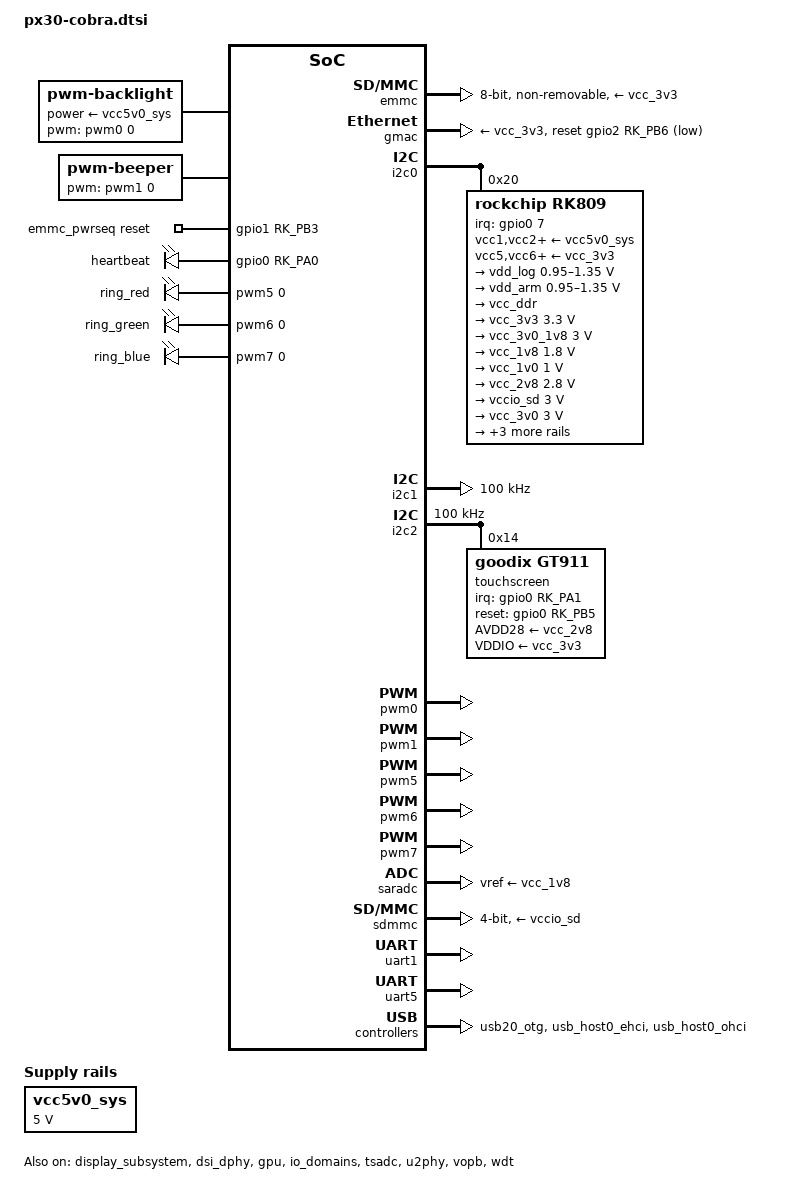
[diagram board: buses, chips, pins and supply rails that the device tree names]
// SPDX-License-Identifier: (GPL-2.0+ OR MIT)
/*
 * Copyright (c) 2019 Theobroma Systems Design und Consulting GmbH
 */

/dts-v1/;
#include <dt-bindings/gpio/gpio.h>
#include <dt-bindings/input/input.h>
#include <dt-bindings/pinctrl/rockchip.h>
#include "px30.dtsi"

/ {
	chosen {
		stdout-path = "serial5:115200n8";
	};

	backlight: backlight {
		compatible = "pwm-backlight";
		power-supply = <&vcc5v0_sys>;
		pwms = <&pwm0 0 25000 0>;
	};

	beeper {
		compatible = "pwm-beeper";
		pwms = <&pwm1 0 1000 0>;
	};

	emmc_pwrseq: emmc-pwrseq {
		compatible = "mmc-pwrseq-emmc";
		pinctrl-0 = <&emmc_reset>;
		pinctrl-names = "default";
		reset-gpios = <&gpio1 RK_PB3 GPIO_ACTIVE_HIGH>;
	};

	gpio-leds {
		compatible = "gpio-leds";

		heartbeat_led {
			label = "heartbeat";
			gpios = <&gpio0 RK_PA0 GPIO_ACTIVE_HIGH>;
			linux,default-trigger = "heartbeat";
		};
	};

	pwm-leds {
		compatible = "pwm-leds";

		ring_red {
			label = "ring_red";
			pwms = <&pwm5 0 1000000 0>;
			default-state = "off";
			max-brightness = <255>;
		};

		ring_green {
			label = "ring_green";
			pwms = <&pwm6 0 1000000 0>;
			default-state = "off";
			max-brightness = <255>;
		};

		ring_blue {
			label = "ring_blue";
			pwms = <&pwm7 0 1000000 0>;
			default-state = "off";
			max-brightness = <255>;
		};
	};

	/* also named 5V_Q7 in schematics */
	vcc5v0_sys: vccsys {
		compatible = "regulator-fixed";
		regulator-name = "vcc5v0_sys";
		regulator-always-on;
		regulator-boot-on;
		regulator-min-microvolt = <5000000>;
		regulator-max-microvolt = <5000000>;
	};
};

&cpu0 {
	cpu-supply = <&vdd_arm>;
};

&cpu1 {
	cpu-supply = <&vdd_arm>;
};

&cpu2 {
	cpu-supply = <&vdd_arm>;
};

&cpu3 {
	cpu-supply = <&vdd_arm>;
};

&display_subsystem {
	status = "okay";
};

&dsi_dphy {
	status = "okay";
};

&emmc {
	bus-width = <8>;
	cap-mmc-highspeed;
	// To make hs200 work, U-Boot has to set the RK809
	// DCDC4 rail to 1.8V from the default of 3.0V.
	// U-Boot does not do that yet, so disable hs200.
	//mmc-hs200-1_8v;
	supports-emmc;
	mmc-pwrseq = <&emmc_pwrseq>;
	non-removable;
	vmmc-supply = <&vcc_3v3>;
	vqmmc-supply = <&vcc_emmc>;
	status = "okay";
};

&gmac {
	clock_in_out = "output";
	phy-supply = <&vcc_3v3>;
	snps,reset-gpio = <&gpio2 RK_PB6 GPIO_ACTIVE_LOW>;
	snps,reset-active-low;
	snps,reset-delays-us = <0 50000 50000>;
	status = "okay";
};

&gpu {
	mali-supply = <&vdd_log>;
	status = "okay";
};

/* I2C0 = PMIC, STUSB45, RTC */
&i2c0 {
	status = "okay";

	rk809: pmic@20 {
		compatible = "rockchip,rk809";
		reg = <0x20>;
		interrupt-parent = <&gpio0>;
		interrupts = <7 IRQ_TYPE_LEVEL_LOW>;
		pinctrl-names = "default";
		pinctrl-0 = <&pmic_int>;
		rockchip,system-power-controller;
		wakeup-source;
		#clock-cells = <0>;
		clock-output-names = "xin32k";

		vcc1-supply = <&vcc5v0_sys>;
		vcc2-supply = <&vcc5v0_sys>;
		vcc3-supply = <&vcc5v0_sys>;
		vcc4-supply = <&vcc5v0_sys>;
		vcc5-supply = <&vcc_3v3>;
		vcc6-supply = <&vcc_3v3>;
		vcc7-supply = <&vcc_3v3>;
		vcc9-supply = <&vcc5v0_sys>;

		regulators {
			vdd_log: DCDC_REG1 {
				regulator-name = "vdd_log";
				regulator-min-microvolt = <950000>;
				regulator-max-microvolt = <1350000>;
				regulator-ramp-delay = <6001>;
				regulator-always-on;
				regulator-boot-on;

				regulator-state-mem {
					regulator-on-in-suspend;
					regulator-suspend-microvolt = <950000>;
				};
			};

			vdd_arm: DCDC_REG2 {
				regulator-name = "vdd_arm";
				regulator-min-microvolt = <950000>;
				regulator-max-microvolt = <1350000>;
				regulator-ramp-delay = <6001>;
				regulator-always-on;
				regulator-boot-on;

				regulator-state-mem {
					regulator-off-in-suspend;
					regulator-suspend-microvolt = <950000>;
				};
			};

			vcc_ddr: DCDC_REG3 {
				regulator-name = "vcc_ddr";
				regulator-always-on;
				regulator-boot-on;

				regulator-state-mem {
					regulator-on-in-suspend;
				};
			};

			vcc_3v3: DCDC_REG5 {
				regulator-name = "vcc_3v3";
				regulator-min-microvolt = <3300000>;
				regulator-max-microvolt = <3300000>;
				regulator-always-on;
				regulator-boot-on;

				regulator-state-mem {
					regulator-on-in-suspend;
					regulator-suspend-microvolt = <3300000>;
				};
			};

			vcc_3v0_1v8: vcc_emmc: DCDC_REG4 {
				regulator-name = "vcc_3v0_1v8";
				regulator-min-microvolt = <3000000>;
				regulator-max-microvolt = <3000000>;
				regulator-always-on;
				regulator-boot-on;

				regulator-state-mem {
					regulator-on-in-suspend;
					regulator-suspend-microvolt = <3000000>;
				};
			};

			vcc_1v8: LDO_REG2 {
				regulator-name = "vcc_1v8";
				regulator-min-microvolt = <1800000>;
				regulator-max-microvolt = <1800000>;
				regulator-always-on;
				regulator-boot-on;

				regulator-state-mem {
					regulator-on-in-suspend;
					regulator-suspend-microvolt = <1800000>;
				};
			};

			vcc_1v0: LDO_REG3 {
				regulator-name = "vcc_1v0";
				regulator-min-microvolt = <1000000>;
				regulator-max-microvolt = <1000000>;
				regulator-always-on;
				regulator-boot-on;

				regulator-state-mem {
					regulator-on-in-suspend;
					regulator-suspend-microvolt = <1000000>;
				};
			};

			vcc_2v8: LDO_REG4 {
				regulator-name = "vcc_2v8";
				regulator-min-microvolt = <2800000>;
				regulator-max-microvolt = <2800000>;
				regulator-always-on;
				regulator-boot-on;

				regulator-state-mem {
					regulator-off-in-suspend;
					regulator-suspend-microvolt = <2800000>;
				};
			};

			/*
			 * vccio_sd also supplies the vmmc supply, so needs
			 * to stay single voltage.
			 */
			vccio_sd: LDO_REG5 {
				regulator-name = "vccio_sd";
				regulator-min-microvolt = <3000000>;
				regulator-max-microvolt = <3000000>;
				regulator-always-on;
				regulator-boot-on;

				regulator-state-mem {
					regulator-on-in-suspend;
					regulator-suspend-microvolt = <3000000>;
				};
			};

			/* supplies the pull-up resistors for i2c1 */
			vcc_3v0: LDO_REG6 {
				regulator-name = "vcc_3v0";
				regulator-min-microvolt = <3000000>;
				regulator-max-microvolt = <3000000>;
				regulator-always-on;
				regulator-boot-on;

				regulator-state-mem {
					regulator-on-in-suspend;
					regulator-suspend-microvolt = <3300000>;
				};
			};

			vcc_lcd: LDO_REG7 {
				regulator-always-on;
				regulator-boot-on;
				regulator-min-microvolt = <1000000>;
				regulator-max-microvolt = <1000000>;
				regulator-name = "vcc_lcd";

				regulator-state-mem {
					regulator-off-in-suspend;
					regulator-suspend-microvolt = <1000000>;
				};
			};

			vcc_1v8_lcd: LDO_REG8 {
				regulator-name = "vcc_1v8_lcd";
				regulator-min-microvolt = <1800000>;
				regulator-max-microvolt = <1800000>;
				regulator-always-on;
				regulator-boot-on;

				regulator-state-mem {
					regulator-on-in-suspend;
					regulator-suspend-microvolt = <1800000>;
				};
			};

			vcca_1v8: LDO_REG9 {
				regulator-name = "vcca_1v8";
				regulator-min-microvolt = <1800000>;
				regulator-max-microvolt = <1800000>;
				regulator-always-on;
				regulator-boot-on;

				regulator-state-mem {
					regulator-off-in-suspend;
					regulator-suspend-microvolt = <1800000>;
				};
			};
		};
	};
};

/* I2C1 = STSAFE + ATtiny */
&i2c1 {
	status = "okay";
	clock-frequency = <100000>;
};

&i2c2 {
	status = "okay";

	clock-frequency = <100000>;

	/* These are relatively safe rise/fall times; TODO: measure */
	i2c-scl-falling-time-ns = <50>;
	i2c-scl-rising-time-ns = <300>;

	touchscreen@14 {
		compatible = "goodix,gt911";
		reg = <0x14>;
		interrupt-parent = <&gpio0>;
		interrupts = <RK_PA1 IRQ_TYPE_LEVEL_LOW>;
		irq-gpios = <&gpio0 RK_PA1 GPIO_ACTIVE_HIGH>;
		reset-gpios = <&gpio0 RK_PB5 GPIO_ACTIVE_HIGH>;
		touchscreen-inverted-x;
		AVDD28-supply = <&vcc_2v8>;
		VDDIO-supply = <&vcc_3v3>;

		goodix,calibration-data = [
			51 d0 02 00 05 05 35 00 01 0f 28 0f 5a 3c 03 00 00 00
			00 00 00 00 08 18 1a 1e 14 8b 2b 0c 2c 2e bb 0a 00 00
			01 01 03 2d 00 00 00 00 00 00 00 00 00 00 00 28 64 94
			d5 02 08 00 00 04 80 2c 00 6d 34 00 5b 3f 00 4d 4c 00
			42 5b 00 42 00 00 00 00 00 00 00 00 00 00 00 00 00 00
			00 00 00 00 00 00 00 00 00 00 00 00 00 00 00 00 00 00
			00 00 00 00 02 04 06 08 0a 0c 0e 10 12 14 16 18 ff ff
			00 00 00 00 00 00 00 00 00 00 00 00 00 00 00 00 26 24
			22 21 20 1f 1e 1d 1c 18 16 13 12 10 0f 0c 0a 08 06 04
			02 00 ff ff ff ff 00 00 00 00 00 00 00 00 00 00 00 00
			00 00 00 00 88 01
		];
	};
};

/*
 * Enable software pull-ups to prevent floating pins when the touch
 * panel is not connected.
 */
&i2c2_xfer {
	rockchip,pins =
		<2 RK_PB7 2 &pcfg_pull_up>,
		<2 RK_PC0 2 &pcfg_pull_up>;
};

&io_domains {
	status = "okay";

	vccio1-supply = <&vcc_1v8>;
	vccio2-supply = <&vccio_sd>;
	vccio3-supply = <&vcc_3v3>;
	vccio4-supply = <&vcc_3v3>;
	vccio5-supply = <&vcc_1v8>;
	vccio6-supply = <&vcc_emmc>;
};

&pmu_io_domains {
	status = "okay";

	pmuio1-supply = <&vcc_3v3>;
	pmuio2-supply = <&vcc_3v3>;
};

&pwm0 {
	status = "okay";
};

&pwm1 {
	status = "okay";
};

&pwm5 {
	status = "okay";
};

&pwm6 {
	status = "okay";
};

&pwm7 {
	status = "okay";
};

&saradc {
	status = "okay";
	vref-supply = <&vcc_1v8>;
};

&sdmmc {
	bus-width = <4>;
	cap-sd-highspeed;
	broken-cd;
	pinctrl-names = "default";
	pinctrl-0 = <&sdmmc_clk &sdmmc_cmd &sdmmc_bus4>;
	sd-uhs-sdr12;
	sd-uhs-sdr25;
	sd-uhs-sdr50;
	sd-uhs-sdr104;
	supports-sd;
	vqmmc-supply = <&vccio_sd>;
	vmmc-supply = <&vccio_sd>;
	status = "okay";
};

&tsadc {
	status = "okay";
};

&u2phy {
	status = "okay";

	u2phy_host: host-port {
		status = "okay";
	};

	u2phy_otg: otg-port {
		status = "okay";
	};
};

&uart1 {
	pinctrl-names = "default";
	pinctrl-0 = <&uart1_xfer &uart1_cts>;
	status = "okay";
};

&uart5 {
	pinctrl-0 = <&uart5_xfer>;
	status = "okay";
};

&usb20_otg {
	status = "okay";
};

&usb_host0_ehci {
	status = "okay";
};

&usb_host0_ohci {
	status = "okay";
};

&vopb {
	status = "okay";
};

&vopb_mmu {
	status = "okay";
};

&vopl {
	status = "disabled";
};

&vopl_mmu {
	status = "disabled";
};

&wdt {
	status = "okay";
};

&pinctrl {
	pinctrl-names = "default";
	pinctrl-0 = <&cobra_pin_hog>;

	hog {
		cobra_pin_hog: cobra_pin_hog {
			rockchip,pins =
			  /* STUSB4500 open drain outout POWER_OK2, needs pull-up */
			  <3 RK_PB1 RK_FUNC_GPIO &pcfg_pull_up>,
			  /* STUSB4500 open drain outout POWER_OK3, needs pull-up */
			  <3 RK_PB2 RK_FUNC_GPIO &pcfg_pull_up>,
			  /* The default pull-down on this pin can keep the STSAFE in reset indefinitely. Disable it. */
			  <3 RK_PB6 RK_FUNC_GPIO &pcfg_pull_none>;
		};
	};

	emmc {
		emmc_reset: emmc-reset {
			rockchip,pins = <1 RK_PB3 RK_FUNC_GPIO &pcfg_pull_none>;
		};
	};

	pmic {
		pmic_int: pmic_int {
			rockchip,pins =
				<0 RK_PA7 RK_FUNC_GPIO &pcfg_pull_up>;
		};

		soc_slppin_gpio: soc_slppin_gpio {
			rockchip,pins =
				<0 RK_PA4 RK_FUNC_GPIO &pcfg_output_low>;
		};

		soc_slppin_slp: soc_slppin_slp {
			rockchip,pins =
				<0 RK_PA4 1 &pcfg_pull_none>;
		};

		soc_slppin_rst: soc_slppin_rst {
			rockchip,pins =
				<0 RK_PA4 2 &pcfg_pull_none>;
		};
	};
};
